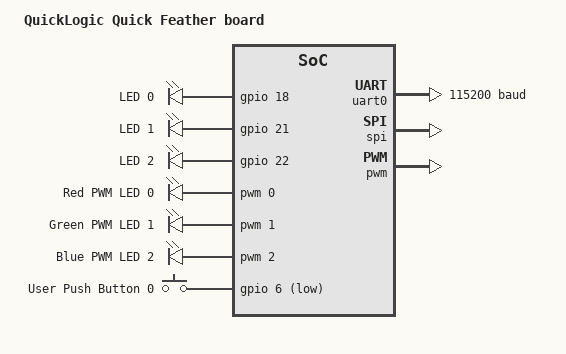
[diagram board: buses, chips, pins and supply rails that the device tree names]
/*
 * Copyright (c) 2020 Antmicro <www.antmicro.com>
 *
 * SPDX-License-Identifier: Apache-2.0
 */

/dts-v1/;
#include <quicklogic/quicklogic_eos_s3.dtsi>
#include "quick_feather.dtsi"

/ {
	model = "QuickLogic Quick Feather board";
	compatible = "quicklogic,eos_s3", "quicklogic,eos_s3x";

	chosen {
		zephyr,sram = &sram0;
		zephyr,console = &uart0;
		zephyr,shell-uart = &uart0;
		zephyr,uart-pipe = &uart0;
	};

	aliases {
		led0 = &led0;
		led1 = &led1;
		led2 = &led2;
		pwm-led0 = &pwm_led0;
		pwm-led1 = &pwm_led1;
		pwm-led2 = &pwm_led2;
		red-pwm-led = &pwm_led0;
		green-pwm-led = &pwm_led1;
		blue-pwm-led = &pwm_led2;
		sw0 = &button0;
	};

	leds {
		compatible = "gpio-leds";
		led0: led_0 {
			gpios = <&gpio 18 0>;
			label = "LED 0";
		};

		led1: led_1 {
			gpios = <&gpio 21 0>;
			label = "LED 1";
		};

		led2: led_2 {
			gpios = <&gpio 22 0>;
			label = "LED 2";
		};
	};

	pwmleds {
		compatible = "pwm-leds";
		pwm_led0: pwm_led_0 {
			pwms = <&pwm 0>;
			label = "Red PWM LED 0";
		};
		pwm_led1: pwm_led_1 {
			pwms = <&pwm 1>;
			label = "Green PWM LED 1";
		};
		pwm_led2: pwm_led_2 {
			pwms = <&pwm 2>;
			label = "Blue PWM LED 2";
		};
	};

	buttons {
		compatible = "gpio-keys";
		button0: button_0 {
			gpios = <&gpio 6 (GPIO_INT_ACTIVE_LOW | GPIO_PUD_PULL_UP) >;
			label = "User Push Button 0";
		};
	};
};

&cpu0 {
	clock-frequency = <61440000>;
};

&uart0 {
	status = "okay";
	current-speed = <115200>;
};

&spi {
	status = "okay";
};

&pwm {
	status = "okay";
};
